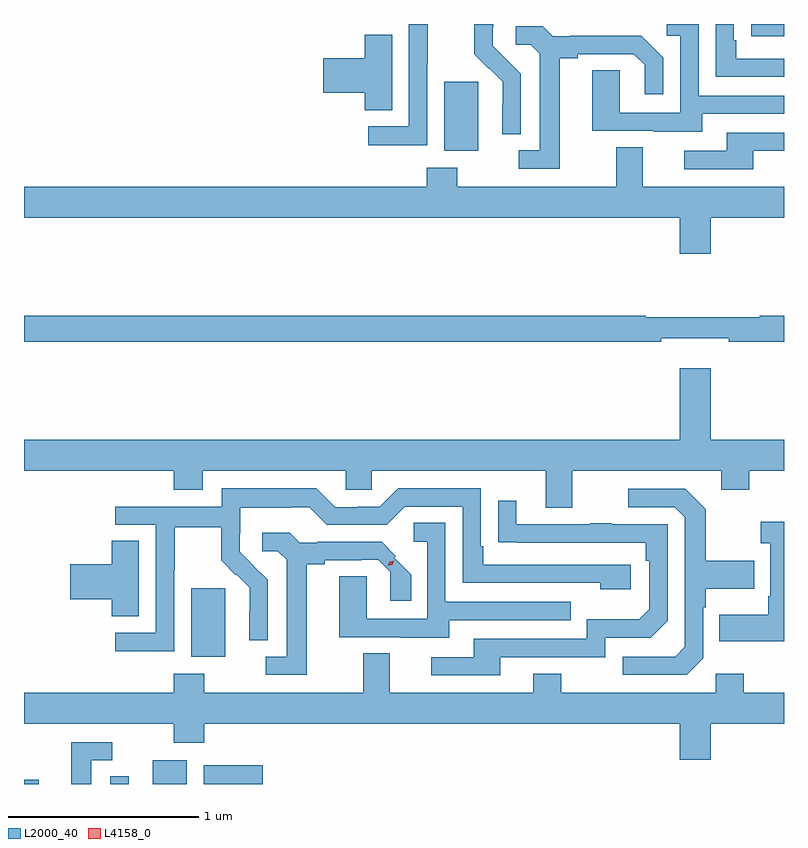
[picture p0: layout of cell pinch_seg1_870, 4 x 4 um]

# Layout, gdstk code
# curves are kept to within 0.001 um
import gdstk
lib = gdstk.Library(unit=1e-6, precision=1e-09)
def R(c, l, rs):  # rectangles x0, y0, x1, y1
    for r in rs: c.add(gdstk.rectangle(r[:2], r[2:], *l))
def P(c, l, *ps):  # polygons
    for p in ps: c.add(gdstk.Polygon(p, *l))
L2000_40 = (2000, 40)
L4158_0 = (4158, 0)

pinch_seg1_870 = lib.new_cell('pinch_seg1_870')
R(pinch_seg1_870, L2000_40, [(617.102,504.796,617.179,504.819), (617.556,504.796,617.652,504.836), (617.78,504.796,617.959,504.922), (618.048,504.796,618.358,504.894), (617.981,505.466,618.16,505.827), (619.313,508.13,619.492,508.491)])
P(pinch_seg1_870, L2000_40, [(620.671,508.323),(621.102,508.323),(621.102,508.419),(620.652,508.419),(620.652,508.796),(620.484,508.796),(620.484,508.734),(620.556,508.734),(620.556,508.329),(620.238,508.329),(620.238,508.553),(620.093,508.553),(620.093,508.233),(620.417,508.233),(620.417,508.229),(620.671,508.229)],
  [(621.102,508.796),(620.929,508.796),(620.929,508.732),(621.031,508.732),(621.031,508.731),(621.102,508.731)],
  [(621.102,508.614),(620.851,508.614),(620.851,508.711),(620.838,508.711),(620.838,508.796),(620.742,508.796),(620.742,508.518),(621.102,508.518)],
  [(619.716,508.534),(619.57,508.682),(619.57,508.779),(619.572,508.779),(619.572,508.796),(619.471,508.796),(619.471,508.637),(619.548,508.56),(619.551,508.563),(619.622,508.493),(619.622,508.37),(619.62,508.37),(619.62,508.216),(619.716,508.216)],
  [(619.224,508.588),(619.227,508.588),(619.227,508.796),(619.128,508.796),(619.128,508.257),(618.915,508.257),(618.915,508.159),(619.224,508.159)],
  [(619.921,508.616),(620.017,508.616),(620.017,508.638),(620.312,508.638),(620.369,508.581),(620.369,508.425),(620.466,508.425),(620.466,508.618),(620.35,508.734),(619.978,508.734),(619.978,508.731),(619.884,508.731),(619.832,508.783),(619.689,508.783),(619.689,508.686),(619.77,508.686),(619.817,508.639),(619.817,508.131),(619.707,508.131),(619.707,508.035),(619.921,508.035)],
  [(619.039,508.739),(618.896,508.739),(618.896,508.616),(618.678,508.616),(618.678,508.433),(618.896,508.433),(618.896,508.342),(619.039,508.342)],
  [(620.941,508.128),(621.102,508.128),(621.102,508.224),(620.801,508.224),(620.801,508.128),(620.577,508.128),(620.577,508.032),(620.941,508.032)],
  [(620.359,508.148),(620.219,508.148),(620.219,507.94),(619.383,507.94),(619.383,508.039),(619.223,508.039),(619.223,507.94),(617.102,507.94),(617.102,507.776),(620.552,507.776),(620.552,507.588),(620.716,507.588),(620.716,507.776),(621.102,507.776),(621.102,507.94),(620.359,507.94)],
  [(620.456,507.143),(620.812,507.143),(620.812,507.124),(621.102,507.124),(621.102,507.26),(620.975,507.26),(620.975,507.253),(620.375,507.253),(620.375,507.26),(617.102,507.26),(617.102,507.124),(620.456,507.124)],
  [(619.987,506.444),(620.771,506.444),(620.771,506.345),(620.919,506.345),(620.919,506.444),(621.102,506.444),(621.102,506.608),(620.716,506.608),(620.716,506.983),(620.552,506.983),(620.552,506.608),(617.102,506.608),(617.102,506.444),(617.891,506.444),(617.891,506.345),(618.043,506.345),(618.043,506.444),(618.795,506.444),(618.795,506.346),(618.933,506.346),(618.933,506.444),(619.847,506.444),(619.847,506.25),(619.987,506.25)],
  [(617.892,505.924),(617.895,505.924),(617.895,506.148),(618.139,506.148),(618.139,505.973),(618.216,505.896),(618.219,505.899),(618.29,505.829),(618.29,505.706),(618.288,505.706),(618.288,505.552),(618.384,505.552),(618.384,505.87),(618.238,506.018),(618.238,506.115),(618.24,506.115),(618.24,506.249),(618.503,506.249),(618.503,506.253),(618.603,506.253),(618.696,506.16),(619.011,506.16),(619.107,506.256),(619.41,506.256),(619.41,505.854),(620.135,505.854),(620.135,505.82),(620.296,505.82),(620.296,505.95),(619.519,505.95),(619.519,506.047),(619.506,506.047),(619.506,506.352),(619.071,506.352),(618.975,506.256),(618.857,506.256),(618.857,506.253),(618.741,506.253),(618.641,506.353),(618.144,506.353),(618.144,506.256),(617.583,506.256),(617.583,506.16),(617.796,506.16),(617.796,505.593),(617.583,505.593),(617.583,505.495),(617.892,505.495)],
  [(620.676,505.458),(620.676,505.727),(620.689,505.727),(620.689,505.823),(620.945,505.823),(620.945,505.971),(620.689,505.971),(620.689,506.243),(620.583,506.349),(620.283,506.349),(620.283,506.253),(620.526,506.253),(620.58,506.199),(620.58,505.518),(620.529,505.467),(620.253,505.467),(620.253,505.371),(620.589,505.371)],
  [(619.609,505.464),(620.16,505.464),(620.16,505.566),(620.4,505.566),(620.49,505.656),(620.49,506.163),(620.195,506.163),(620.195,506.168),(620.083,506.168),(620.083,506.163),(619.693,506.163),(619.693,506.287),(619.597,506.287),(619.597,506.068),(620.374,506.067),(620.374,505.97),(620.394,505.97),(620.394,505.716),(620.341,505.663),(620.064,505.663),(620.064,505.56),(619.469,505.56),(619.469,505.464),(619.245,505.464),(619.245,505.368),(619.609,505.368)],
  [(621.102,506.176),(620.979,506.176),(620.979,506.063),(621.03,506.063),(621.03,505.783),(621.018,505.783),(621.018,505.687),(620.761,505.687),(620.761,505.547),(621.102,505.547)],
  [(619.339,505.659),(619.979,505.659),(619.979,505.755),(619.32,505.755),(619.32,506.171),(619.152,506.171),(619.152,506.07),(619.224,506.07),(619.224,505.665),(618.907,505.665),(618.907,505.889),(618.761,505.889),(618.761,505.569),(619.085,505.569),(619.085,505.565),(619.339,505.565)],
  [(618.589,505.952),(618.685,505.952),(618.685,505.974),(618.878,505.974),(618.878,505.977),(618.966,505.977),(619.029,505.914),(619.029,505.761),(619.139,505.761),(619.139,505.898),(619.051,505.987),(619.059,505.995),(618.984,506.07),(618.646,506.07),(618.646,506.067),(618.552,506.067),(618.5,506.119),(618.357,506.119),(618.357,506.022),(618.438,506.022),(618.485,505.975),(618.485,505.467),(618.375,505.467),(618.375,505.371),(618.589,505.371)],
  [(617.707,506.075),(617.564,506.075),(617.564,505.952),(617.346,505.952),(617.346,505.769),(617.564,505.769),(617.564,505.678),(617.707,505.678)],
  [(620.716,505.112),(621.102,505.112),(621.102,505.276),(620.889,505.276),(620.889,505.375),(620.742,505.375),(620.742,505.276),(619.929,505.276),(619.929,505.375),(619.781,505.375),(619.781,505.276),(619.027,505.276),(619.027,505.484),(618.887,505.484),(618.887,505.276),(618.051,505.276),(618.051,505.375),(617.891,505.375),(617.891,505.276),(617.102,505.276),(617.102,505.112),(617.89,505.112),(617.89,505.013),(618.05,505.013),(618.05,505.112),(620.552,505.112),(620.552,504.924),(620.716,504.924)],
  [(617.455,504.921),(617.566,504.921),(617.566,505.017),(617.351,505.017),(617.351,504.796),(617.455,504.796)])
P(pinch_seg1_870, L4158_0, [(619.016,505.944),(619.016,505.944),(619.026,505.966),(619.05,505.972),(619.05,505.972),(619.05,505.971),(619.039,505.95),(619.016,505.944)])

lib.write_gds('pinch_seg1_870.gds')
